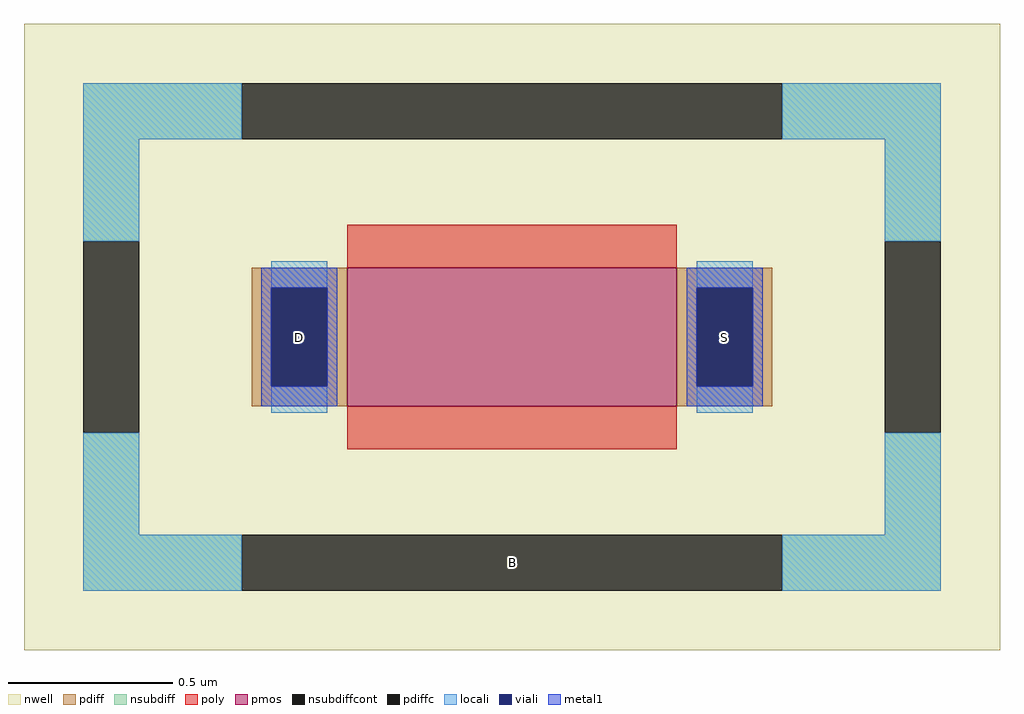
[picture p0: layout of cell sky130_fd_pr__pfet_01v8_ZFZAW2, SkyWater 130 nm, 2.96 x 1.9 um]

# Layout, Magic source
magic
tech sky130A
magscale 1 2
<< nwell >>
rect -296 -190 296 190
<< pmos >>
rect -100 -42 100 42
<< pdiff >>
rect -158 30 -100 42
rect -158 -30 -146 30
rect -112 -30 -100 30
rect -158 -42 -100 -30
rect 100 30 158 42
rect 100 -30 112 30
rect 146 -30 158 30
rect 100 -42 158 -30
<< pdiffc >>
rect -146 -30 -112 30
rect 112 -30 146 30
<< nsubdiff >>
rect -260 120 -164 154
rect 164 120 260 154
rect -260 58 -226 120
rect 226 58 260 120
rect -260 -120 -226 -58
rect 226 -120 260 -58
rect -260 -154 -164 -120
rect 164 -154 260 -120
<< nsubdiffcont >>
rect -164 120 164 154
rect -260 -58 -226 58
rect 226 -58 260 58
rect -164 -154 164 -120
<< poly >>
rect -100 42 100 68
rect -100 -68 100 -42
<< locali >>
rect -260 120 -164 154
rect 164 120 260 154
rect -260 58 -226 120
rect 226 58 260 120
rect -146 30 -112 46
rect -146 -46 -112 -30
rect 112 30 146 46
rect 112 -46 146 -30
rect -260 -120 -226 -58
rect 226 -120 260 -58
rect -260 -154 -164 -120
rect 164 -154 260 -120
<< viali >>
rect -146 -30 -112 30
rect 112 -30 146 30
<< metal1 >>
rect -152 30 -106 42
rect -152 -30 -146 30
rect -112 -30 -106 30
rect -152 -42 -106 -30
rect 106 30 152 42
rect 106 -30 112 30
rect 146 -30 152 30
rect 106 -42 152 -30
<< labels >>
rlabel nsubdiffcont 0 -137 0 -137 0 B
port 1 nsew
rlabel pdiffc -129 0 -129 0 0 D
port 2 nsew
rlabel pdiffc 129 0 129 0 0 S
port 3 nsew
<< properties >>
string FIXED_BBOX -243 -137 243 137
string gencell sky130_fd_pr__pfet_01v8
string library sky130
string parameters w 0.42 l 1 m 1 nf 1 diffcov 100 polycov 100 guard 1 glc 1 grc 1 gtc 1 gbc 1 tbcov 100 rlcov 100 topc 0 botc 0 poverlap 0 doverlap 1 lmin 0.15 wmin 0.42 class mosfet compatible {sky130_fd_pr__pfet_01v8  sky130_fd_pr__pfet_01v8_lvt sky130_fd_pr__pfet_01v8_hvt  sky130_fd_pr__pfet_g5v0d10v5} full_metal 1 conn_gates 0 viasrc 100 viadrn 100 viagate 100 viagb 0 viagr 0 viagl 0 viagt 0 doports 1
<< end >>
